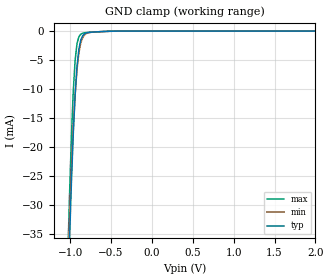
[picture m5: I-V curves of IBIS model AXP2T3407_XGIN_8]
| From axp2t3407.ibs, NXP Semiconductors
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|   Model AXP2T3407_XGIN_8
[Model]   AXP2T3407_XGIN_8
Model_type   Input
Vinl = 0.1875V
Vinh = 0.6375V
C_comp   0.3063pF   0.2782pF   0.3334pF
[Model Spec]
| Note: The input and output voltage ratings may be exceeded if the input and
|   output current ratings are observed (please refer to the data sheet)
|   Subparameter   typ   min   max
| Hysteresis
Vinl   0.20   0.1875   0.2125
Vinh   0.60   0.5625   0.6375
| Overshoot
S_overshoot_high   2.75   2.75   2.75
S_overshoot_low   -0.5   -0.5   -0.5
D_overshoot_high   3.3   3.3   3.3
D_overshoot_low   -0.95   -0.9   -1.0
D_overshoot_time   3n   3n   3n
|Ambient temperature:   25   85   -40
[Temperature Range]   30   90   -35
[Voltage Range]   0.8   0.75   0.85
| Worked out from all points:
|   GND clamp passes 1 mA (typ) near -0.85 V on its own axis
|Process Range   nominal   slow   fast
[GND_clamp]
|   voltage   I(typ)   I(min)   I(max)
-2.75V    -1.14A     -1.056A    -1.22A
-1.031V   -46.98mA   -42.1mA    -39.97mA
-1.008V   -36.19mA   -32.68mA   -28.49mA
-985.4mV  -26.37mA   -24.2mA    -18.44mA
-962.5mV  -17.85mA   -16.89mA   -10.45mA
-939.6mV  -11.01mA   -10.99mA   -5.054mA
-916.7mV  -6.142mA   -6.653mA   -2.184mA
-893.8mV  -3.146mA   -3.785mA   -973.2uA
-847.9mV  -817.1uA   -1.152mA   -364.2uA
-756.2mV  -211.8uA   -232.8uA   -210.2uA
-412.5mV  -4.391uA   -7.311uA   -1.99uA
5.5V      0A         0A         0A
